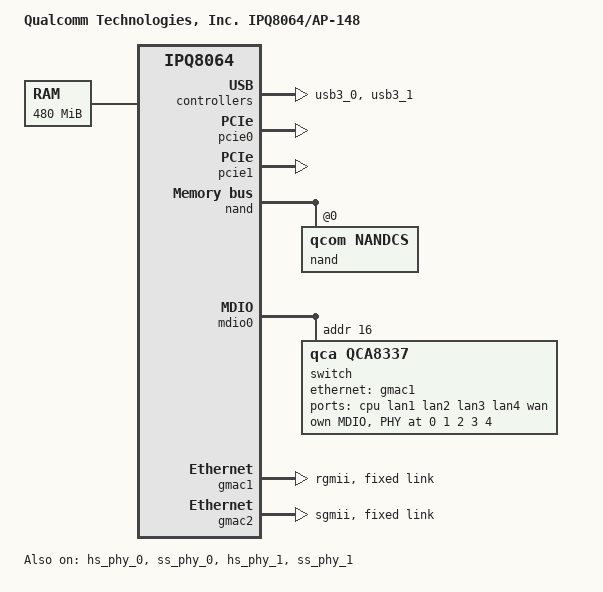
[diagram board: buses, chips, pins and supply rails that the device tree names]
#include "qcom-ipq8064-v1.0.dtsi"

/ {
	model = "Qualcomm Technologies, Inc. IPQ8064/AP-148";
	compatible = "qcom,ipq8064-ap148", "qcom,ipq8064";

	memory@0 {
		reg = <0x42000000 0x1e000000>;
		device_type = "memory";
	};

	reserved-memory {
		#address-cells = <1>;
		#size-cells = <1>;
		ranges;
		rsvd@41200000 {
			reg = <0x41200000 0x300000>;
			no-map;
		};
	};

	aliases {
		mdio-gpio0 = &mdio0;
	};
};

&adm_dma {
	status = "okay";
};

&flash {
	partitions {
		compatible = "qcom,smem-part";
	};
};

&hs_phy_0 {
	status = "okay";
};

&ss_phy_0 {
	status = "okay";
};

&usb3_0 {
	status = "okay";
};

&hs_phy_1 {
	status = "okay";
};

&ss_phy_1 {
	status = "okay";
};

&usb3_1 {
	status = "okay";
};

&pcie0 {
	status = "okay";
};

&pcie1 {
	status = "okay";
	max-link-speed = <1>;
};

&nand {
	status = "okay";

	nand@0 {
		reg = <0>;
		compatible = "qcom,nandcs";

		nand-ecc-strength = <4>;
		nand-bus-width = <8>;
		nand-ecc-step-size = <512>;

		partitions {
			compatible = "qcom,smem-part";
		};
	};
};

&mdio0 {
	status = "okay";

	pinctrl-0 = <&mdio0_pins>;
	pinctrl-names = "default";

	switch@10 {
		compatible = "qca,qca8337";
		#address-cells = <1>;
		#size-cells = <0>;
		reg = <0x10>;

		ports {
			#address-cells = <1>;
			#size-cells = <0>;

			port@0 {
				reg = <0>;
				label = "cpu";
				ethernet = <&gmac1>;
				phy-mode = "rgmii";
				tx-internal-delay-ps = <1000>;
				rx-internal-delay-ps = <1000>;

				fixed-link {
					speed = <1000>;
					full-duplex;
				};
			};

			port@1 {
				reg = <1>;
				label = "lan1";
				phy-mode = "internal";
				phy-handle = <&phy_port1>;
			};

			port@2 {
				reg = <2>;
				label = "lan2";
				phy-mode = "internal";
				phy-handle = <&phy_port2>;
			};

			port@3 {
				reg = <3>;
				label = "lan3";
				phy-mode = "internal";
				phy-handle = <&phy_port3>;
			};

			port@4 {
				reg = <4>;
				label = "lan4";
				phy-mode = "internal";
				phy-handle = <&phy_port4>;
			};

			port@5 {
				reg = <5>;
				label = "wan";
				phy-mode = "internal";
				phy-handle = <&phy_port5>;
			};

			/*
			port@6 {
				reg = <0>;
				label = "cpu";
				ethernet = <&gmac2>;
				phy-mode = "rgmii";

				fixed-link {
					speed = <1000>;
					full-duplex;
					pause;
					asym-pause;
				};
			};
			*/
		};

		mdio {
			#address-cells = <1>;
			#size-cells = <0>;

			phy_port1: phy@0 {
				reg = <0>;
			};

			phy_port2: phy@1 {
				reg = <1>;
			};

			phy_port3: phy@2 {
				reg = <2>;
			};

			phy_port4: phy@3 {
				reg = <3>;
			};

			phy_port5: phy@4 {
				reg = <4>;
			};
		};
	};
};

&gmac1 {
	status = "okay";
	phy-mode = "rgmii";
	qcom,id = <1>;

	pinctrl-0 = <&rgmii2_pins>;
	pinctrl-names = "default";

	fixed-link {
		speed = <1000>;
		full-duplex;
	};
};

&gmac2 {
	status = "okay";
	phy-mode = "sgmii";
	qcom,id = <2>;

	fixed-link {
		speed = <1000>;
		full-duplex;
	};
};
